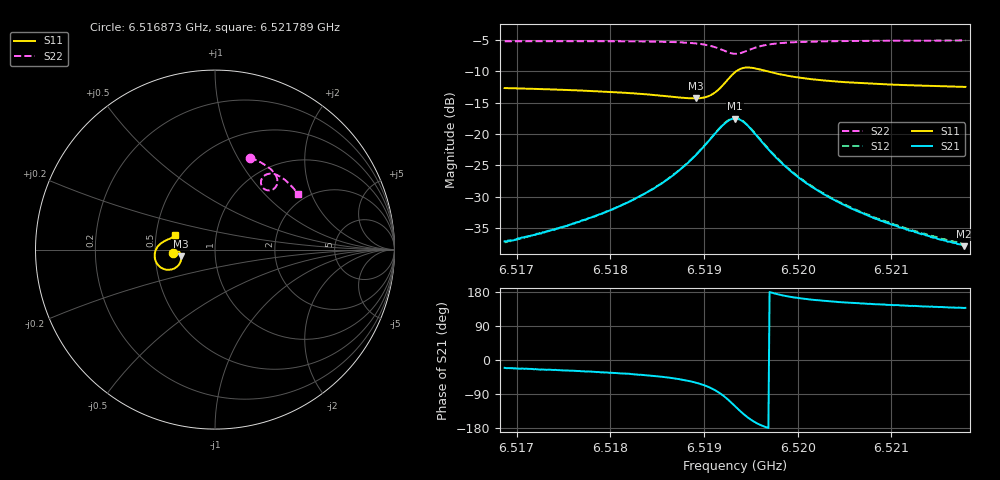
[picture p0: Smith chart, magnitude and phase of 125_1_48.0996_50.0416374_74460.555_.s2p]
#  HZ  S  RI  R  50.00
! Rohde & Schwarz Vector Network Analyzer
! Rohde-Schwarz,ZNB20-2Port,1311601062101988,3.16
! Created: UTC 12/23/2023, 3:47:10 AM
! freq[Hz]  re:S11  im:S11  re:S21  im:S21  re:S12  im:S12  re:S22  im:S22
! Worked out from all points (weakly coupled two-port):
!   401 points, 6.516873 GHz to 6.521789 GHz, reference 50 ohm
!   highest |S21| = -17.55 dB at 6.519331 GHz (marker M1); lowest = -37.9 dB at 6.521776 GHz (marker M2)
!   lowest |S11| = -14.3 dB at 6.518913 GHz (marker M3), VSWR 1.48, Z = 34.1 - j2.57 ohm
!   |S11| at or under -10 dB: start of sweep to 6.519345 GHz; 6.51967 GHz to end of sweep
!   |S22| runs from -7.2 to -5.1 dB; largest |S21 - S12| = 0.0041
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6.5168725e9  -0.2313 -0.0195  0.013 -0.00491  0.0129 -0.00445  0.1942 0.5125
6.5172658e9  -0.2273 -0.0135  0.0146 -0.00682  0.0148 -0.00634  0.2234 0.5011
6.517696e9  -0.2215 -0.00831  0.0177 -0.0101  0.0179 -0.00948  0.2552 0.4855
6.5181876e9  -0.2119 -0.00573  0.0227 -0.017  0.0234 -0.0162  0.2922 0.463
6.5185194e9  -0.2023 -0.00963  0.0283 -0.0269  0.0293 -0.026  0.3177 0.4415
6.5187406e9  -0.1941 -0.0193  0.0326 -0.0399  0.034 -0.0391  0.3347 0.421
6.5189127e9  -0.1884 -0.0364  0.0341 -0.0585  0.0361 -0.0578  0.3457 0.3976
6.519011e9  -0.1885 -0.0534  0.0312 -0.075  0.0337 -0.0747  0.3479 0.3787
6.5190971e9  -0.1953 -0.0742  0.0218 -0.094  0.025 -0.094  0.3436 0.3588
6.5192323e9  -0.2363 -0.1089  -0.0201 -0.1216  -0.0167 -0.1231  0.3124 0.3312
6.5193306e9  -0.2918 -0.1054  -0.0699 -0.1127  -0.0672 -0.1158  0.2745 0.3377
6.5193797e9  -0.3159 -0.0875  -0.0894 -0.0947  -0.0874 -0.098  0.2611 0.353
6.5194412e9  -0.333 -0.0572  -0.1012 -0.0666  -0.1001 -0.0699  0.2559 0.3761
6.5195518e9  -0.3323 -0.00871  -0.0955 -0.0251  -0.0955 -0.0281  0.2702 0.4077
6.5196624e9  -0.3166 0.02  -0.079 -0.00338  -0.0795 -0.00575  0.2926 0.4207
6.5198959e9  -0.287 0.0443  -0.0515 0.0111  -0.0524 0.00964  0.331 0.4208
6.520154e9  -0.2672 0.0538  -0.0352 0.0134  -0.0361 0.0126  0.3597 0.4089
6.5205473e9  -0.2501 0.0612  -0.0227 0.0125  -0.0235 0.012  0.3915 0.387
6.5209775e9  -0.2384 0.0675  -0.0159 0.011  -0.0164 0.0107  0.4186 0.3617
6.5213093e9  -0.2317 0.0722  -0.0125 0.00992  -0.0131 0.00969  0.437 0.3416
6.5217763e9  -0.2238 0.0787  -0.00935 0.00863  -0.00992 0.00867  0.4599 0.3128
6.5217886e9  -0.2235 0.0789  -0.00951 0.00867  -0.00983 0.00857  0.4604 0.312
